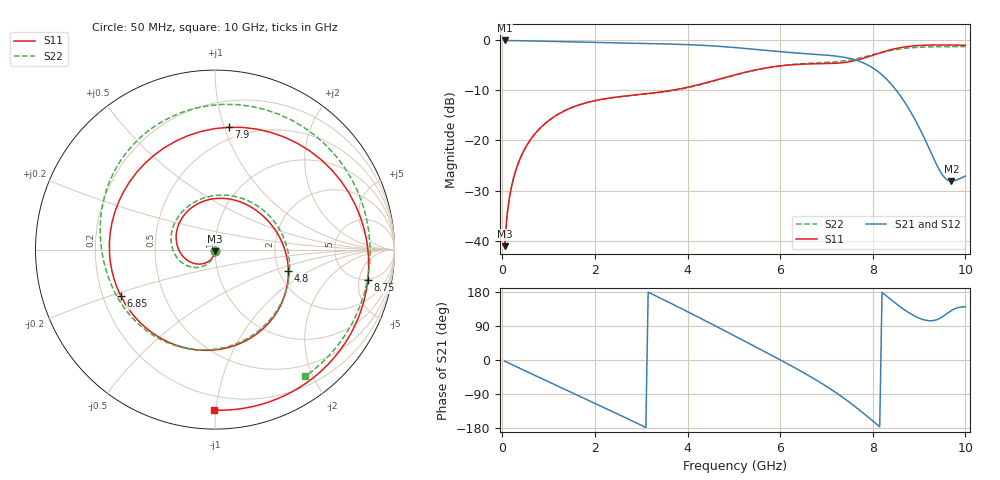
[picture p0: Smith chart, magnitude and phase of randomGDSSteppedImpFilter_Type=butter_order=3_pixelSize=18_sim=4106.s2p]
! freq	dB(S11)	phase(S11)	dB(S12)	phase(S12)
!  dB(S21)	phase(S21)	dB(S22)	phase(S22)
!S-par simulation data
#  GHz  S  DB  R 50
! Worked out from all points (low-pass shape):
!   200 points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, 50 MHz to 10 GHz, reference 50 ohm
!   highest |S21| = 0.00 dB at 50 MHz (marker M1); lowest = -28.1 dB at 9.7 GHz (marker M2)
!   |S21| within 3 dB of the highest: start of sweep to 7.081 GHz
!   lowest |S11| = -41.1 dB at 50 MHz (marker M3), VSWR 1.02, Z = 50 - j0.878 ohm
!   |S11| at or under -10 dB: start of sweep to 3.64 GHz
!   |S22| runs from -41.1 to -1.2 dB; largest |S21 - S12| = 0
!   S11 on the Smith chart (normalised r, x): 50 MHz: 1.00, -0.02; 4.8 GHz: 2.25, -0.65; 6.85 GHz: 0.28, -0.22; 7.9 GHz: 0.40, +1.03; 8.75 GHz: 4.81, -6.68; 10 GHz: 0.11, -0.99
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0.05  -41.12 -90.4  -0.00 -2.9  -0.00 -2.9  -41.08 -91.8
0.1  -35.13 -95.5  -0.01 -5.9  -0.01 -5.9  -35.11 -94.5
0.2  -29.19 -102.9  -0.02 -11.6  -0.02 -11.6  -29.18 -100.0
0.5  -21.45 -122.8  -0.07 -28.9  -0.07 -28.9  -21.43 -116.0
1.15  -15.07 -164.9  -0.21 -66.1  -0.21 -66.1  -15.06 -148.9
1.75  -12.62 156.8  -0.36 -100.2  -0.36 -100.2  -12.63 -179.0
2.65  -11.11 100.7  -0.54 -151.7  -0.54 -151.7  -11.15 134.1
3.4  -10.33 57.3  -0.67 164.1  -0.67 164.1  -10.41 89.3
4.15  -9.04 17.9  -0.90 118.3  -0.90 118.3  -9.14 37.5
4.8  -7.43 -16.1  -1.26 77.4  -1.26 77.4  -7.52 -9.7
5.05  -6.81 -29.8  -1.45 61.5  -1.45 61.5  -6.88 -27.6
5.9  -5.21 -81.1  -2.17 6.9  -2.17 6.9  -5.23 -84.6
6.3  -4.83 -108.7  -2.48 -19.4  -2.48 -19.4  -4.79 -109.6
6.7  -4.68 -140.4  -2.74 -47.2  -2.74 -47.2  -4.53 -133.9
6.85  -4.66 -153.8  -2.83 -58.2  -2.83 -58.2  -4.46 -142.9
7.4  -4.39 147.6  -3.40 -102.9  -3.40 -102.9  -4.06 -176.6
7.9  -3.28 83.7  -4.95 -150.7  -4.95 -150.7  -3.09 146.6
8.35  -1.95 28.7  -8.24 163.5  -8.24 163.5  -2.08 103.1
8.75  -1.22 -11.3  -13.22 127.2  -13.22 127.2  -1.53 59.3
9.2  -0.93 -46.0  -21.24 103.8  -21.24 103.8  -1.29 11.9
9.7  -0.92 -75.5  -28.11 130.7  -28.11 130.7  -1.23 -32.4
10  -0.97 -90.4  -27.11 140.4  -27.11 140.4  -1.24 -54.4
